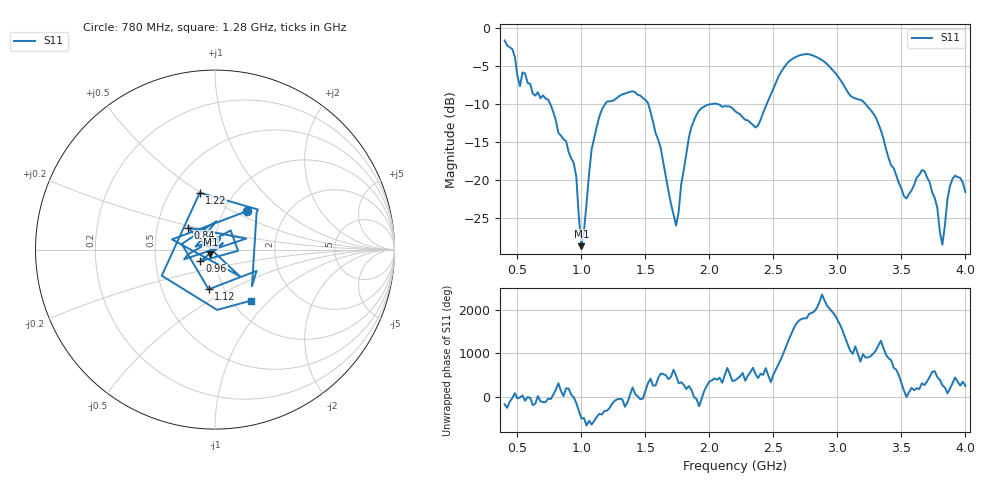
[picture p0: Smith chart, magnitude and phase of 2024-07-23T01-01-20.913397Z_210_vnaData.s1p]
!Created with skrf (http://scikit-rf.org).
# Hz S RI R 50.0
!freq ReS11 ImS11
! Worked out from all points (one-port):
!   181 points, 400 MHz to 4 GHz, reference 50 ohm
!   lowest |S11| = -28.8 dB at 1 GHz (marker M1), VSWR 1.08, Z = 47.4 - j2.42 ohm
!   |S11| at or under -10 dB: 755.7 MHz to 1.187 GHz (431.1 MHz wide, 44.4 % of centre); 1.522 GHz to 2.031 GHz (508.9 MHz wide, 28.6 % of centre); 3.218 GHz to end of sweep (the widest 3 of 4)
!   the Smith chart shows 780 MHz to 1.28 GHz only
!   S11 on the Smith chart (normalised r, x): 780 MHz: 1.28, +0.60; 840 MHz: 0.72, +0.18; 960 MHz: 0.84, -0.11; 1.12 GHz: 0.85, -0.39; 1.22 GHz: 0.70, +0.50; 1.28 GHz: 1.21, -0.79
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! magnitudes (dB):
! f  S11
! 400 MHz  -1.6
! 520 MHz  -7.7
! 780 MHz  -11.0
! 840 MHz  -14.2
! 860 MHz  -14.7
! 960 MHz  -19.6
! 1 GHz  -28.8
! 1.08 GHz  -16.0
! 1.12 GHz  -13.0
! 1.22 GHz  -9.7
! 1.28 GHz  -9.2
! 1.3 GHz  -8.9
! 1.52 GHz  -9.9
! 1.74 GHz  -26.1
! 1.76 GHz  -24.2
! 1.84 GHz  -14.4
! 1.9 GHz  -11.4
! 2.2 GHz  -11.0
! 2.38 GHz  -12.8
! 2.66 GHz  -4.0
! 2.88 GHz  -4.2
! 3.1 GHz  -8.9
! 3.3 GHz  -11.8
! 3.56 GHz  -21.9
! 3.68 GHz  -18.9
! 3.82 GHz  -28.6
! 3.9 GHz  -19.9
! 4 GHz  -21.6
